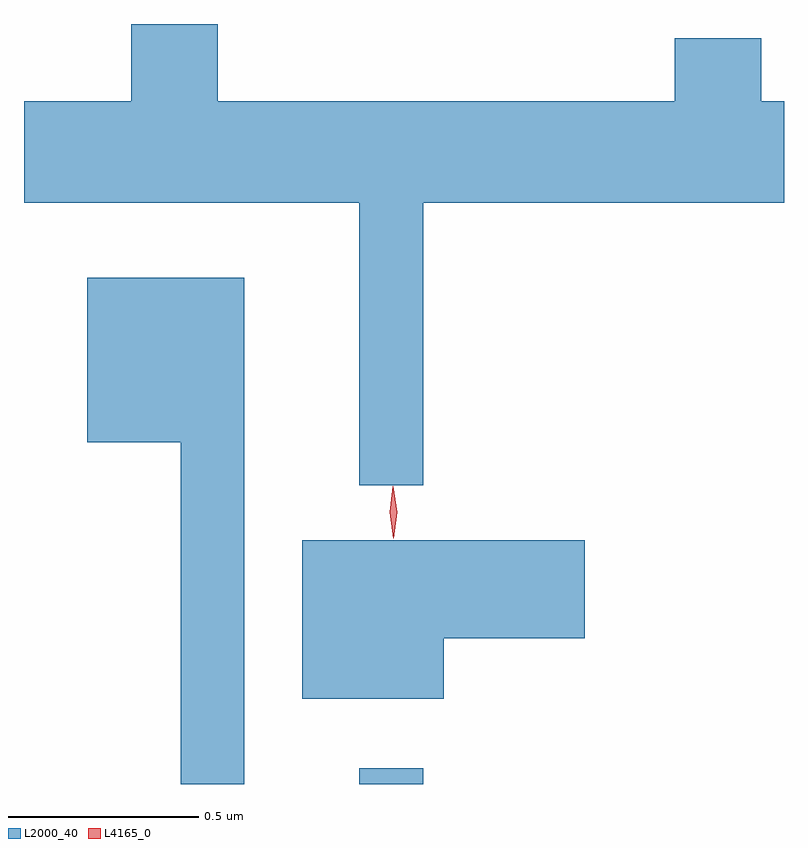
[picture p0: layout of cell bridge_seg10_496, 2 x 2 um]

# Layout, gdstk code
import gdstk
lib = gdstk.Library(unit=1e-6, precision=1e-09)
def R(c, l, rs):  # rectangles x0, y0, x1, y1
    for r in rs: c.add(gdstk.rectangle(r[:2], r[2:], *l))
def P(c, l, *ps):  # polygons
    for p in ps: c.add(gdstk.Polygon(p, *l))
L2000_40 = (2000, 40)
L4165_0 = (4165, 0)

bridge_seg10_496 = lib.new_cell('bridge_seg10_496')
R(bridge_seg10_496, L2000_40, [(1048.141,2161.227,1048.309,2161.268)])
P(bridge_seg10_496, L2000_40, [(1048.309,2162.756),(1049.259,2162.756),(1049.259,2163.024),(1049.199,2163.024),(1049.199,2163.189),(1048.971,2163.189),(1048.971,2163.024),(1047.769,2163.024),(1047.769,2163.227),(1047.541,2163.227),(1047.541,2163.024),(1047.259,2163.024),(1047.259,2162.756),(1048.141,2162.756),(1048.141,2162.013),(1048.309,2162.013)],
  [(1047.839,2162.559),(1047.426,2162.559),(1047.426,2162.126),(1047.671,2162.126),(1047.671,2161.227),(1047.839,2161.227)],
  [(1048.364,2161.611),(1048.734,2161.611),(1048.734,2161.869),(1047.991,2161.869),(1047.991,2161.451),(1048.364,2161.451)])
P(bridge_seg10_496, L4165_0, [(1048.231,2161.874),(1048.221,2161.942),(1048.23,2162.01),(1048.231,2162.01),(1048.231,2162.01),(1048.241,2161.942),(1048.232,2161.874),(1048.232,2161.874)],
  [(1048.232,2161.88),(1048.232,2161.881),(1048.222,2161.943),(1048.23,2162.006),(1048.231,2162.007),(1048.231,2162.006),(1048.241,2161.944),(1048.232,2161.881)])

lib.write_gds('bridge_seg10_496.gds')
